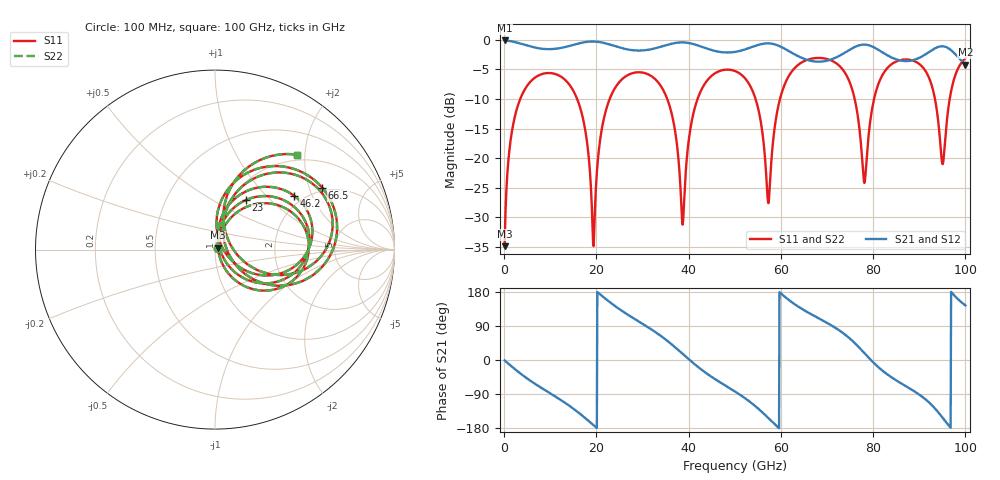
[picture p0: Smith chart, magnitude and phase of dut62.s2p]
! Touchstone file exported from HFSS 2026.1.0
!  File:  C:/ffzhzh/LocalFiles/Ansys_Project_Files/temp_train_TSV_RDL_62_1783447748_34316.aedt
!  Generated:  02:19:52 AM Jul  8, 2026
!  Design:  TSV_RDL
!  Project:  temp_train_TSV_RDL_62_1783447748_34316
! Variables:
!  h_bsmrdl = 2.27um
!  h_ox = 20um
!  h_rdl = 5um
!  h_sub = 98.61um
!  h_tmrdl = 3.25um
!  h_tsv = 98.61um
!  h_via = 3um
!  l_bsmrdl = 299.53um
!  l_sub = 2691.22um
!  l_tmrdl = 316.38um
!  m_sub = 200um
!  pitch = 58.83um
!  r_tsv = 12um
!  s_tmrdl = 10um
!  w_bsmrdl = 22.69um
!  w_sub = 500um
!  w_tmrdl = 19.68um
!  x_tsv_center1 = 326.22um
!  x_tsv_center2 = 648.44um
!  x_tsv_center3 = 984.5um
!  x_tsv_center4 = 1306.72um
!  x_tsv_center5 = 1642.78um
!  x_tsv_center6 = 1965um
# GHz S MA R 50.000000
! Terminal data exported
! Port[1] = TM_RDL1_1_T1
! Port[2] = TM_RDL5_1_T1
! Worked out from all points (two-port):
!   1000 points, 100 MHz to 100 GHz, reference 50 ohm
!   highest |S21| = -0.13 dB at 100 MHz (marker M1); lowest = -4.2 dB at 100 GHz (marker M2)
!   |S21| within 3 dB of the highest: start of sweep to 64.71 GHz; 71.58 GHz to 84.36 GHz (12.78 GHz wide, 16.4 % of centre) (the widest 2 of 3)
!   lowest |S11| = -34.8 dB at 100 MHz (marker M3), VSWR 1.04, Z = 51.5 + j1.1 ohm
!   |S11| at or under -10 dB: 15.82 GHz to 22.88 GHz (7.057 GHz wide, 36.5 % of centre); 35.36 GHz to 41.93 GHz (6.577 GHz wide, 17 % of centre); 54.5 GHz to 59.8 GHz (5.3 GHz wide, 9.27 % of centre) (the widest 3 of 6)
!   |S22| runs from -35.1 to -3.1 dB; largest |S21 - S12| = 1.5e-12
!   S11 on the Smith chart (normalised r, x): 100 MHz: 1.03, +0.02; 23 GHz: 1.17, +0.72; 46.2 GHz: 1.78, +1.49; 66.5 GHz: 1.87, +2.46; 100 GHz: 0.89, +1.84
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0.1  0.01811 36.3  0.9856 -1.1  0.9856 -1.1  0.01811 36.3
! Gamma 0 0 0 0
! Port Impedance 50 0 50 0
1.7  0.1695 65.9  0.9669 -17.8  0.9669 -17.8  0.1695 65.9
4.9  0.4041 39.3  0.895 -48.0  0.895 -48.0  0.4041 39.3
16.8  0.2406 -53.1  0.9422 -145.4  0.9422 -145.4  0.2406 -53.2
19.4  0.01812 20.1  0.9657 -172.1  0.9657 -172.1  0.01758 20.4
23  0.3249 58.1  0.9077 151.8  0.9077 151.8  0.3249 58.2
33.4  0.4363 -20.4  0.8596 68.5  0.8596 68.5  0.4363 -20.4
38.7  0.02748 17.0  0.9489 16.2  0.9489 16.2  0.0269 17.0
41.3  0.2629 72.6  0.9122 -11.2  0.9122 -11.2  0.2628 72.7
46.2  0.5336 34.2  0.7961 -54.2  0.7961 -54.2  0.5336 34.2
50.1  0.5432 6.7  0.7897 -83.6  0.7897 -83.6  0.5433 6.7
54.7  0.2983 -28.6  0.8943 -124.3  0.8943 -124.3  0.2984 -28.6
57.3  0.04173 29.4  0.9313 -153.4  0.9313 -153.4  0.0415 29.3
60.3  0.3686 75.8  0.8602 172.5  0.8602 172.5  0.3684 76.0
66.5  0.69 30.0  0.6633 121.2  0.6633 121.2  0.6899 30.1
66.7  0.6927 28.7  0.6609 119.9  0.6609 119.9  0.6926 28.8
74.5  0.4763 -23.8  0.8049 61.3  0.8049 61.3  0.4764 -23.6
78.1  0.06188 17.9  0.9095 18.3  0.9095 18.3  0.06319 17.9
83.4  0.5938 45.6  0.7275 -40.8  0.7275 -40.8  0.5938 45.6
91.4  0.5408 -9.5  0.7547 -104.3  0.7547 -104.3  0.5408 -9.4
95.1  0.0892 30.5  0.8804 -152.8  0.8804 -152.8  0.09043 30.6
100  0.6979 49.2  0.6159 144.0  0.6159 144.0  0.6981 49.2
